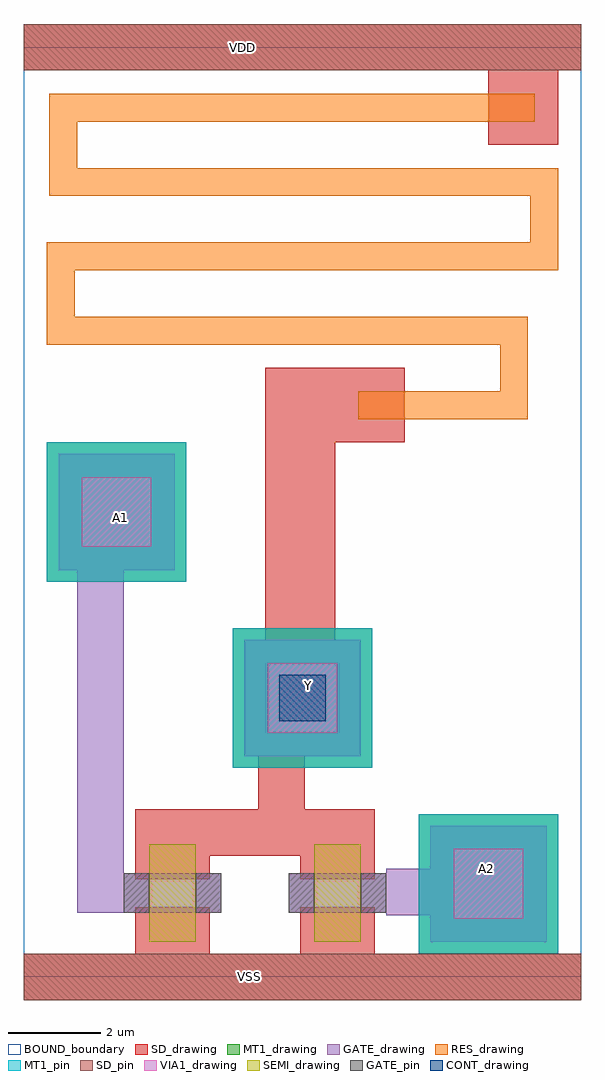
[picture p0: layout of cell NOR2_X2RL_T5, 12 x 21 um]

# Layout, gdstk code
from math import pi, radians
import gdstk
lib = gdstk.Library(unit=1e-6, precision=1e-09)
def R(c, l, rs):  # rectangles x0, y0, x1, y1
    for r in rs: c.add(gdstk.rectangle(r[:2], r[2:], *l))
def P(c, l, *ps):  # polygons
    for p in ps: c.add(gdstk.Polygon(p, *l))
RES_drawing = (1, 0)
SEMI_drawing = (3, 0)
SD_drawing = (10, 0)
SD_pin = (10, 3)
GATE_drawing = (11, 0)
GATE_pin = (11, 3)
MT1_drawing = (20, 0)
MT1_pin = (20, 3)
CONT_drawing = (30, 0)
VIA1_drawing = (41, 0)
BOUND_boundary = (150, 5)

nch_cdns_772545063290 = lib.new_cell('nch_CDNS_772545063290')
R(nch_cdns_772545063290, SEMI_drawing, [(-1.05,-0.5,1.05,0.5)])
R(nch_cdns_772545063290, SD_drawing, [(-1.3,-0.8,-0.3,0.8), (0.3,-0.8,1.3,0.8)])
R(nch_cdns_772545063290, GATE_drawing, [(-0.425,-1.05,0.425,1.05)])
R(nch_cdns_772545063290, GATE_pin, [(-0.425,-1.05,0.425,-0.5), (-0.425,0.5,0.425,1.05)])

gate_mt1_cdns_7725450632 = lib.new_cell('GATE_MT1_CDNS_772545063290')
R(gate_mt1_cdns_7725450632, GATE_drawing, [(-1.25,-1.25,1.25,1.25)])
R(gate_mt1_cdns_7725450632, MT1_drawing, [(-1.25,-1.25,1.25,1.25)])
R(gate_mt1_cdns_7725450632, VIA1_drawing, [(-0.75,-0.75,0.75,0.75)])

sd_gate_cdns_77254506329 = lib.new_cell('SD_GATE_CDNS_772545063291')
R(sd_gate_cdns_77254506329, SD_drawing, [(-1.25,-1.25,1.25,1.25)])
R(sd_gate_cdns_77254506329, GATE_drawing, [(-1.25,-1.25,1.25,1.25)])
R(sd_gate_cdns_77254506329, CONT_drawing, [(-0.5,-0.5,0.5,0.5)])

nor2_x2rl_t5 = lib.new_cell('NOR2_X2RL_T5')
R(nor2_x2rl_t5, SD_drawing, [(0,-0.5,12,0.5), (5.2,7.25,6.7,13.1), (6.7,11.5,8.2,13.1), (10,17.9,11.5,19.5), (0,19.5,12,20.5)])
R(nor2_x2rl_t5, SD_pin, [(0,-0.5,12,0.5), (0,19.5,12,20.5)])
P(nor2_x2rl_t5, GATE_drawing, [(7.9,1.325),(7.9,2.325),(7.8,2.325),(7.8,2.175),(7.75,2.175),(7.75,1.425),(7.8,1.425),(7.8,1.325)],
  [(2.05,2.275),(2.05,1.375),(2.2,1.375),(2.2,2.125),(2.15,2.125),(2.15,2.275)])
R(nor2_x2rl_t5, MT1_drawing, [(8.5,0.5,11.5,3.5), (4.5,4.5,7.5,7.5), (0.5,8.5,3.5,11.5)])
R(nor2_x2rl_t5, MT1_pin, [(8.5,0.5,11.5,3.5), (4.5,4.5,7.5,7.5), (0.5,8.5,3.5,11.5)])
R(nor2_x2rl_t5, BOUND_boundary, [(0,0,12,20)])
nor2_x2rl_t5.add(gdstk.FlexPath([(8.25,1.825),(7.9,1.825)], 1, ends=(0.5, 0), simple_path=True, layer=11, datatype=0))  # GATE_drawing
nor2_x2rl_t5.add(gdstk.FlexPath([(1.65,1.875),(1.65,8.775)], 1, ends=(0.5, 0), simple_path=True, layer=11, datatype=0))  # GATE_drawing
nor2_x2rl_t5.add(gdstk.FlexPath([(5.55,3.1),(5.55,4.75)], 1, ends=(0.5, 0), simple_path=True, layer=10, datatype=0))  # SD_drawing
nor2_x2rl_t5.add(gdstk.FlexPath([(5.55,3.1),(7.55,3.1)], 1, ends=(0.5, 0), simple_path=True, layer=10, datatype=0))  # SD_drawing
nor2_x2rl_t5.add(gdstk.FlexPath([(2.4,3.1),(5.55,3.1)], 1, ends=(0, 0.5), simple_path=True, layer=10, datatype=0))  # SD_drawing
nor2_x2rl_t5.add(gdstk.FlexPath([(8.2,12.3),(10.55,12.3),(10.55,13.9),(0.8,13.9),(0.8,15.5),(11.2,15.5),(11.2,17.1),(0.85,17.1),(0.85,18.7),(10,18.7)], 0.6, ends=(1, 1), simple_path=True, layer=1, datatype=0))  # RES_drawing
nor2_x2rl_t5.add(gdstk.Reference(nch_cdns_772545063290, (6.75,1.8), rotation=pi/2))
nor2_x2rl_t5.add(gdstk.Reference(nch_cdns_772545063290, (3.2,1.8), rotation=pi/2))
nor2_x2rl_t5.add(gdstk.Reference(gate_mt1_cdns_7725450632, (10,2)))
nor2_x2rl_t5.add(gdstk.Reference(gate_mt1_cdns_7725450632, (6,6)))
nor2_x2rl_t5.add(gdstk.Reference(gate_mt1_cdns_7725450632, (2,10)))
nor2_x2rl_t5.add(gdstk.Reference(sd_gate_cdns_77254506329, (6,6)))
nor2_x2rl_t5.add(gdstk.Label('Y', (6.125,6.275), layer=20, texttype=3))
nor2_x2rl_t5.add(gdstk.Label('A1', (2.075,9.875), layer=20, texttype=3))
nor2_x2rl_t5.add(gdstk.Label('A2', (9.95,2.325), layer=20, texttype=3))
nor2_x2rl_t5.add(gdstk.Label('VDD', (4.7,20), layer=10, texttype=3))
nor2_x2rl_t5.add(gdstk.Label('VSS', (4.85,0), layer=10, texttype=3))

lib.write_gds('NOR2_X2RL_T5.gds')
